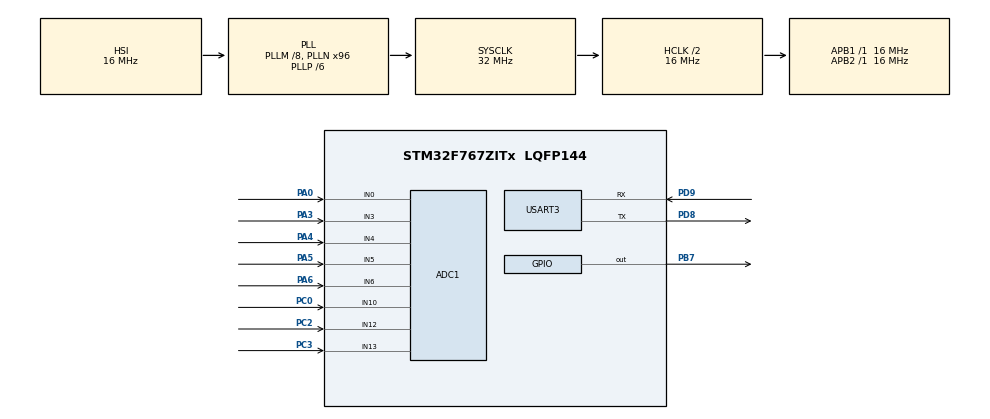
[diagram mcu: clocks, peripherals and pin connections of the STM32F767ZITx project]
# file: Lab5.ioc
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ADC1.Channel-0\#ChannelRegularConversion=ADC_CHANNEL_0
ADC1.Channel-1\#ChannelRegularConversion=ADC_CHANNEL_3
ADC1.Channel-2\#ChannelRegularConversion=ADC_CHANNEL_4
ADC1.Channel-3\#ChannelRegularConversion=ADC_CHANNEL_5
ADC1.Channel-4\#ChannelRegularConversion=ADC_CHANNEL_6
ADC1.Channel-5\#ChannelRegularConversion=ADC_CHANNEL_10
ADC1.Channel-6\#ChannelRegularConversion=ADC_CHANNEL_12
ADC1.Channel-7\#ChannelRegularConversion=ADC_CHANNEL_13
ADC1.Channel-8\#ChannelInjectedConversion=ADC_CHANNEL_0
ADC1.ContinuousConvMode=DISABLE
ADC1.DMAContinuousRequests=ENABLE
ADC1.InjNumberOfConversion=1
ADC1.InjectedOffset-8\#ChannelInjectedConversion=0
ADC1.InjectedRank-8\#ChannelInjectedConversion=1
ADC1.NbrOfConversion=8
ADC1.NbrOfConversionFlag=1
ADC1.Rank-0\#ChannelRegularConversion=1
ADC1.Rank-1\#ChannelRegularConversion=2
ADC1.Rank-2\#ChannelRegularConversion=3
ADC1.Rank-3\#ChannelRegularConversion=4
ADC1.Rank-4\#ChannelRegularConversion=5
ADC1.Rank-5\#ChannelRegularConversion=6
ADC1.Rank-6\#ChannelRegularConversion=7
ADC1.Rank-7\#ChannelRegularConversion=8
ADC1.SamplingTime-0\#ChannelRegularConversion=ADC_SAMPLETIME_3CYCLES
ADC1.SamplingTime-1\#ChannelRegularConversion=ADC_SAMPLETIME_3CYCLES
ADC1.SamplingTime-2\#ChannelRegularConversion=ADC_SAMPLETIME_3CYCLES
ADC1.SamplingTime-3\#ChannelRegularConversion=ADC_SAMPLETIME_3CYCLES
ADC1.SamplingTime-4\#ChannelRegularConversion=ADC_SAMPLETIME_3CYCLES
ADC1.SamplingTime-5\#ChannelRegularConversion=ADC_SAMPLETIME_3CYCLES
ADC1.SamplingTime-6\#ChannelRegularConversion=ADC_SAMPLETIME_3CYCLES
ADC1.SamplingTime-7\#ChannelRegularConversion=ADC_SAMPLETIME_3CYCLES
ADC1.SamplingTime-8\#ChannelInjectedConversion=ADC_SAMPLETIME_3CYCLES
ADC1.master=1
Dma.ADC1.0.Direction=DMA_PERIPH_TO_MEMORY
Dma.ADC1.0.FIFOMode=DMA_FIFOMODE_DISABLE
Dma.ADC1.0.Instance=DMA2_Stream0
Dma.ADC1.0.MemDataAlignment=DMA_MDATAALIGN_WORD
Dma.ADC1.0.MemInc=DMA_MINC_ENABLE
Dma.ADC1.0.Mode=DMA_CIRCULAR
Dma.ADC1.0.PeriphDataAlignment=DMA_PDATAALIGN_WORD
Dma.ADC1.0.PeriphInc=DMA_PINC_DISABLE
Dma.ADC1.0.Priority=DMA_PRIORITY_LOW
Dma.Request0=ADC1
Mcu.Family=STM32F7
Mcu.Name=STM32F767ZITx
Mcu.Package=LQFP144
NVIC.DMA2_Stream0_IRQn=true\:1\:0\:true\:false\:true\:false\:true\:true
NVIC.PriorityGroup=NVIC_PRIORITYGROUP_2
PA0/WKUP.Signal=ADCx_IN0
PA3.Signal=ADCx_IN3
PA4.Signal=ADCx_IN4
PA5.Signal=ADCx_IN5
PA6.Signal=ADCx_IN6
PB7.Signal=GPIO_Output
PC0.Signal=ADCx_IN10
PC2.Signal=ADCx_IN12
PC3.Signal=ADCx_IN13
PD8.Mode=Asynchronous
PD8.Signal=USART3_TX
PD9.Mode=Asynchronous
PD9.Signal=USART3_RX
ProjectManager.HeapSize=0x200
ProjectManager.StackSize=0x400
ProjectManager.TargetToolchain=STM32CubeIDE
RCC.AHBCLKDivider=RCC_SYSCLK_DIV2
RCC.AHBFreq_Value=16000000
RCC.APB1Freq_Value=16000000
RCC.APB1TimFreq_Value=16000000
RCC.APB2Freq_Value=16000000
RCC.APB2TimFreq_Value=16000000
RCC.CortexFreq_Value=16000000
RCC.HCLKFreq_Value=16000000
RCC.HSE_VALUE=25000000
RCC.HSI_VALUE=16000000
RCC.LSE_VALUE=32768
RCC.PLLM=8
RCC.PLLN=96
RCC.PLLP=RCC_PLLP_DIV6
RCC.SYSCLKFreq_VALUE=32000000
RCC.SYSCLKSource=RCC_SYSCLKSOURCE_PLLCLK
RCC.USBFreq_Value=96000000
RCC.VCOOutputFreq_Value=192000000
SH.ADCx_IN0.0=ADC1_IN0,IN0
SH.ADCx_IN10.0=ADC1_IN10,IN10
SH.ADCx_IN12.0=ADC1_IN12,IN12
SH.ADCx_IN13.0=ADC1_IN13,IN13
SH.ADCx_IN3.0=ADC1_IN3,IN3
SH.ADCx_IN4.0=ADC1_IN4,IN4
SH.ADCx_IN5.0=ADC1_IN5,IN5
SH.ADCx_IN6.0=ADC1_IN6,IN6
USART3.VirtualMode-Asynchronous=VM_ASYNC
board=custom

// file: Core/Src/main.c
/* USER CODE BEGIN Header */
/**
 ******************************************************************************
 * @file           : main.c
 * @brief          : Main program body
 ******************************************************************************
 * @attention
 *
 * Copyright (c) 2023 STMicroelectronics.
 * All rights reserved.
 *
 * This software is licensed under terms that can be found in the LICENSE file
 * in the root directory of this software component.
 * If no LICENSE file comes with this software, it is provided AS-IS.
 *
 ******************************************************************************
 */
/* USER CODE END Header */
#include "main.h"

/* USER CODE BEGIN Includes */
#include "stdio.h"
#include <float.h>
/* USER CODE END Includes */

ADC_HandleTypeDef hadc1;
DMA_HandleTypeDef hdma_adc1;

UART_HandleTypeDef huart3;

/* USER CODE BEGIN PV */
uint32_t adc_avg_8;
uint32_t adc_avg_16;
uint32_t adc_val[8];
/* USER CODE END PV */

void SystemClock_Config(void);
static void MX_GPIO_Init(void);
static void MX_DMA_Init(void);
static void MX_ADC1_Init(void);
static void MX_USART3_UART_Init(void);
/* USER CODE BEGIN PFP */
void displayHEX(uint32_t num);
/* USER CODE END PFP */

int main(void)
{

  /* MCU Configuration--------------------------------------------------------*/

  /* Reset of all peripherals, Initializes the Flash interface and the Systick. */
  HAL_Init();

  /* Configure the system clock */
  SystemClock_Config();

  /* Initialize all configured peripherals */
  MX_GPIO_Init();
  MX_DMA_Init();
  MX_ADC1_Init();
  MX_USART3_UART_Init();
  /* USER CODE BEGIN 2 */
	float lv;
	char vin[50];
	uint8_t Buffer_Src[] = { 0, 3, 4, 5, 6, 10, 12, 13 };
	char ch[10];
  /* USER CODE END 2 */

  /* Infinite loop */
  /* USER CODE BEGIN WHILE */

	while (1) {

		HAL_ADC_Start_DMA(&hadc1, (uint32_t*) adc_val, 8);
		for (int i = 0; i < 8; i++) {
			//sprintf(vin[i], "%d", adc_val[i]);
			while (__HAL_UART_GET_FLAG(&huart3,UART_FLAG_TC) == RESET) {
			}
			HAL_UART_Transmit(&huart3, (uint8_t*) "CH_", 3, 100);
			sprintf(ch, "%d", Buffer_Src[i]);
			while (__HAL_UART_GET_FLAG(&huart3,UART_FLAG_TC) == RESET) {
			}
			HAL_UART_Transmit(&huart3, (uint8_t*) ch, strlen(ch), 100);
			while (__HAL_UART_GET_FLAG(&huart3,UART_FLAG_TC) == RESET) {
			}
			HAL_UART_Transmit(&huart3, (uint8_t*) " = ", 3, 100);
//			while (__HAL_UART_GET_FLAG(&huart3,UART_FLAG_TC) == RESET) {
//			}
//			HAL_UART_Transmit(&huart3, (uint8_t*) vin[i], strlen(vin[i]), 100);
			displayHEX(adc_val[i]);
			lv = (float)adc_val[i] * (3.3/4095);
			sprintf (vin,"%.2f",lv);
			while (__HAL_UART_GET_FLAG(&huart3,UART_FLAG_TC) == RESET) {
						}
			HAL_UART_Transmit(&huart3, (uint8_t *) "\tVin = ", 7, 100);
			while (__HAL_UART_GET_FLAG(&huart3,UART_FLAG_TC) == RESET) {
						}
			HAL_UART_Transmit(&huart3, (uint8_t *) vin, strlen(vin), 100);
			while (__HAL_UART_GET_FLAG(&huart3,UART_FLAG_TC) == RESET) {
			}
			HAL_UART_Transmit(&huart3, (uint8_t*) "\n", 1, 100);
		}
		while (__HAL_UART_GET_FLAG(&huart3,UART_FLAG_TC) == RESET) {
		}
		HAL_UART_Transmit(&huart3,
				(uint8_t*) "--------------------------------------------------\n",
				51, 100);
		HAL_Delay(500);

//	  HAL_ADC_Start(&hadc1);
//	  while(HAL_ADC_PollForConversion(&hadc1, 100) != HAL_OK){}
//	  adc_val = HAL_ADC_GetValue(&hadc1);
//	  adc_avg_8 = average_8(adc_val);
//	  adc_avg_16 = average_16(adc_val);
//	  lv = (float)adc_val * (3.3/4095);
//	  sprintf (vin,"%.2f",lv);
//	  HAL_UART_Transmit(&huart3, (uint8_t *) "ADC1_CH10 ", 10, 100);
//	  displayHEX(adc_val);
//	  HAL_UART_Transmit(&huart3, (uint8_t *) " Vin = ", 7, 100);
//	  HAL_UART_Transmit(&huart3, (uint8_t *) vin, strlen(vin), 100);
//	  HAL_UART_Transmit(&huart3, (uint8_t *) " V\n", 3, 100);
//	  if(adc_val<=819)
//	  {
//		  GPIOC -> BSRR = 0x0F000000;
//	  }
//	  else if(adc_val<=1638)
//	  {
//		  GPIOC -> BSRR = 0x0F000000;
//		  GPIOC -> BSRR = 0x00000100;
//	  }
//	  else if(adc_val<=2457)
//	  {
//		  GPIOC -> BSRR = 0x0F000000;
//		  GPIOC -> BSRR = 0x00000300;
//	  }
//	  else if(adc_val<=3276)
//	  {
//		  GPIOC -> BSRR = 0x0F000000;
//		  GPIOC -> BSRR = 0x00000700;
//	  }
//	  else
//	  {
//		  GPIOC -> BSRR = 0x0F000000;
//		  GPIOC -> BSRR = 0x00000F00;
//	  }
//	  HAL_Delay(400);
    /* USER CODE END WHILE */

	}
}

void SystemClock_Config(void)
{
  RCC_OscInitTypeDef RCC_OscInitStruct = {0};
  RCC_ClkInitTypeDef RCC_ClkInitStruct = {0};

  /** Configure the main internal regulator output voltage
  */
  __HAL_RCC_PWR_CLK_ENABLE();
  __HAL_PWR_VOLTAGESCALING_CONFIG(PWR_REGULATOR_VOLTAGE_SCALE3);

  /** Initializes the RCC Oscillators according to the specified parameters
  * in the RCC_OscInitTypeDef structure.
  */
  RCC_OscInitStruct.OscillatorType = RCC_OSCILLATORTYPE_HSI;
  RCC_OscInitStruct.HSIState = RCC_HSI_ON;
  RCC_OscInitStruct.HSICalibrationValue = RCC_HSICALIBRATION_DEFAULT;
  RCC_OscInitStruct.PLL.PLLState = RCC_PLL_ON;
  RCC_OscInitStruct.PLL.PLLSource = RCC_PLLSOURCE_HSI;
  RCC_OscInitStruct.PLL.PLLM = 8;
  RCC_OscInitStruct.PLL.PLLN = 96;
  RCC_OscInitStruct.PLL.PLLP = RCC_PLLP_DIV6;
  RCC_OscInitStruct.PLL.PLLQ = 2;
  RCC_OscInitStruct.PLL.PLLR = 2;
  if (HAL_RCC_OscConfig(&RCC_OscInitStruct) != HAL_OK)
  {
    Error_Handler();
  }

  /** Initializes the CPU, AHB and APB buses clocks
  */
  RCC_ClkInitStruct.ClockType = RCC_CLOCKTYPE_HCLK|RCC_CLOCKTYPE_SYSCLK
                              |RCC_CLOCKTYPE_PCLK1|RCC_CLOCKTYPE_PCLK2;
  RCC_ClkInitStruct.SYSCLKSource = RCC_SYSCLKSOURCE_PLLCLK;
  RCC_ClkInitStruct.AHBCLKDivider = RCC_SYSCLK_DIV2;
  RCC_ClkInitStruct.APB1CLKDivider = RCC_HCLK_DIV1;
  RCC_ClkInitStruct.APB2CLKDivider = RCC_HCLK_DIV1;

  if (HAL_RCC_ClockConfig(&RCC_ClkInitStruct, FLASH_LATENCY_0) != HAL_OK)
  {
    Error_Handler();
  }
}

static void MX_ADC1_Init(void)
{

  ADC_ChannelConfTypeDef sConfig = {0};
  ADC_InjectionConfTypeDef sConfigInjected = {0};

  /** Configure the global features of the ADC (Clock, Resolution, Data Alignment and number of conversion)
  */
  hadc1.Instance = ADC1;
  hadc1.Init.ClockPrescaler = ADC_CLOCK_SYNC_PCLK_DIV2;
  hadc1.Init.Resolution = ADC_RESOLUTION_12B;
  hadc1.Init.ScanConvMode = ADC_SCAN_ENABLE;
  hadc1.Init.ContinuousConvMode = DISABLE;
  hadc1.Init.DiscontinuousConvMode = DISABLE;
  hadc1.Init.ExternalTrigConvEdge = ADC_EXTERNALTRIGCONVEDGE_NONE;
  hadc1.Init.ExternalTrigConv = ADC_SOFTWARE_START;
  hadc1.Init.DataAlign = ADC_DATAALIGN_RIGHT;
  hadc1.Init.NbrOfConversion = 8;
  hadc1.Init.DMAContinuousRequests = ENABLE;
  hadc1.Init.EOCSelection = ADC_EOC_SINGLE_CONV;
  if (HAL_ADC_Init(&hadc1) != HAL_OK)
  {
    Error_Handler();
  }

  /** Configure for the selected ADC regular channel its corresponding rank in the sequencer and its sample time.
  */
  sConfig.Channel = ADC_CHANNEL_0;
  sConfig.Rank = ADC_REGULAR_RANK_1;
  sConfig.SamplingTime = ADC_SAMPLETIME_3CYCLES;
  if (HAL_ADC_ConfigChannel(&hadc1, &sConfig) != HAL_OK)
  {
    Error_Handler();
  }

  /** Configure for the selected ADC regular channel its corresponding rank in the sequencer and its sample time.
  */
  sConfig.Channel = ADC_CHANNEL_3;
  sConfig.Rank = ADC_REGULAR_RANK_2;
  if (HAL_ADC_ConfigChannel(&hadc1, &sConfig) != HAL_OK)
  {
    Error_Handler();
  }

  /** Configure for the selected ADC regular channel its corresponding rank in the sequencer and its sample time.
  */
  sConfig.Channel = ADC_CHANNEL_4;
  sConfig.Rank = ADC_REGULAR_RANK_3;
  if (HAL_ADC_ConfigChannel(&hadc1, &sConfig) != HAL_OK)
  {
    Error_Handler();
  }

  /** Configure for the selected ADC regular channel its corresponding rank in the sequencer and its sample time.
  */
  sConfig.Channel = ADC_CHANNEL_5;
  sConfig.Rank = ADC_REGULAR_RANK_4;
  if (HAL_ADC_ConfigChannel(&hadc1, &sConfig) != HAL_OK)
  {
    Error_Handler();
  }

  /** Configure for the selected ADC regular channel its corresponding rank in the sequencer and its sample time.
  */
  sConfig.Channel = ADC_CHANNEL_6;
  sConfig.Rank = ADC_REGULAR_RANK_5;
  if (HAL_ADC_ConfigChannel(&hadc1, &sConfig) != HAL_OK)
  {
    Error_Handler();
  }

  /** Configure for the selected ADC regular channel its corresponding rank in the sequencer and its sample time.
  */
  sConfig.Channel = ADC_CHANNEL_10;
  sConfig.Rank = ADC_REGULAR_RANK_6;
  if (HAL_ADC_ConfigChannel(&hadc1, &sConfig) != HAL_OK)
  {
    Error_Handler();
  }

  /** Configure for the selected ADC regular channel its corresponding rank in the sequencer and its sample time.
  */
  sConfig.Channel = ADC_CHANNEL_12;
  sConfig.Rank = ADC_REGULAR_RANK_7;
  if (HAL_ADC_ConfigChannel(&hadc1, &sConfig) != HAL_OK)
  {
    Error_Handler();
  }

  /** Configure for the selected ADC regular channel its corresponding rank in the sequencer and its sample time.
  */
  sConfig.Channel = ADC_CHANNEL_13;
  sConfig.Rank = ADC_REGULAR_RANK_8;
  if (HAL_ADC_ConfigChannel(&hadc1, &sConfig) != HAL_OK)
  {
    Error_Handler();
  }

  /** Configures for the selected ADC injected channel its corresponding rank in the sequencer and its sample time
  */
  sConfigInjected.InjectedChannel = ADC_CHANNEL_0;
  sConfigInjected.InjectedRank = ADC_INJECTED_RANK_1;
  sConfigInjected.InjectedNbrOfConversion = 1;
  sConfigInjected.InjectedSamplingTime = ADC_SAMPLETIME_3CYCLES;
  sConfigInjected.ExternalTrigInjecConvEdge = ADC_EXTERNALTRIGINJECCONVEDGE_NONE;
  sConfigInjected.ExternalTrigInjecConv = ADC_INJECTED_SOFTWARE_START;
  sConfigInjected.AutoInjectedConv = DISABLE;
  sConfigInjected.InjectedDiscontinuousConvMode = DISABLE;
  sConfigInjected.InjectedOffset = 0;
  if (HAL_ADCEx_InjectedConfigChannel(&hadc1, &sConfigInjected) != HAL_OK)
  {
    Error_Handler();
  }

}

static void MX_USART3_UART_Init(void)
{

  huart3.Instance = USART3;
  huart3.Init.BaudRate = 115200;
  huart3.Init.WordLength = UART_WORDLENGTH_8B;
  huart3.Init.StopBits = UART_STOPBITS_1;
  huart3.Init.Parity = UART_PARITY_NONE;
  huart3.Init.Mode = UART_MODE_TX_RX;
  huart3.Init.HwFlowCtl = UART_HWCONTROL_NONE;
  huart3.Init.OverSampling = UART_OVERSAMPLING_16;
  huart3.Init.OneBitSampling = UART_ONE_BIT_SAMPLE_DISABLE;
  huart3.AdvancedInit.AdvFeatureInit = UART_ADVFEATURE_NO_INIT;
  if (HAL_UART_Init(&huart3) != HAL_OK)
  {
    Error_Handler();
  }

}

static void MX_DMA_Init(void)
{

  /* DMA controller clock enable */
  __HAL_RCC_DMA2_CLK_ENABLE();

  /* DMA interrupt init */
  /* DMA2_Stream0_IRQn interrupt configuration */
  HAL_NVIC_SetPriority(DMA2_Stream0_IRQn, 1, 0);
  HAL_NVIC_EnableIRQ(DMA2_Stream0_IRQn);

}

static void MX_GPIO_Init(void)
{
  GPIO_InitTypeDef GPIO_InitStruct = {0};

  /* GPIO Ports Clock Enable */
  __HAL_RCC_GPIOC_CLK_ENABLE();
  __HAL_RCC_GPIOA_CLK_ENABLE();
  __HAL_RCC_GPIOD_CLK_ENABLE();
  __HAL_RCC_GPIOB_CLK_ENABLE();

  /*Configure GPIO pin Output Level */
  HAL_GPIO_WritePin(GPIOB, GPIO_PIN_7, GPIO_PIN_RESET);

  /*Configure GPIO pin : PB7 */
  GPIO_InitStruct.Pin = GPIO_PIN_7;
  GPIO_InitStruct.Mode = GPIO_MODE_OUTPUT_PP;
  GPIO_InitStruct.Pull = GPIO_NOPULL;
  GPIO_InitStruct.Speed = GPIO_SPEED_FREQ_LOW;
  HAL_GPIO_Init(GPIOB, &GPIO_InitStruct);

}

/* USER CODE BEGIN 4 */
void HAL_ADC_ConvHalfCpltCallback(ADC_HandleTypeDef *hadc) {
	HAL_GPIO_WritePin(GPIOB, GPIO_PIN_7, GPIO_PIN_SET);
	HAL_Delay(200);
}

void HAL_ADC_ConvCpltCallback(ADC_HandleTypeDef *hadc) {
	HAL_GPIO_WritePin(GPIOB, GPIO_PIN_7, GPIO_PIN_RESET);
	HAL_Delay(200);
}

void displayHEX(uint32_t num) {
	char op[50];
	char op2[50] = "";
	sprintf(op, "%x", num);
	strcat(op2, "0x");
	for (int i = 0; i < 8 - strlen(op); i++) {
		strcat(op2, "0");
	}
	strcat(op2, op);
	HAL_UART_Transmit(&huart3, (uint8_t*) op2, strlen(op2), 100);
}

int average_8(int x) {
	static int samples[8];
	static int i = 0;
	static int totle = 0;

	totle += x - samples[i];
	samples[i] = x;

	i = (i == 7 ? 0 : i + 1);

	return totle >> 3;
}

int average_16(int x) {
	static int samples[16];
	static int i = 0;
	static int totle = 0;

	totle += x - samples[i];
	samples[i] = x;

	i = (i == 15 ? 0 : i + 1);

	return totle >> 4;
}

/* USER CODE END 4 */

void Error_Handler(void)
{
	__disable_irq();
	while (1) {
	}
}
